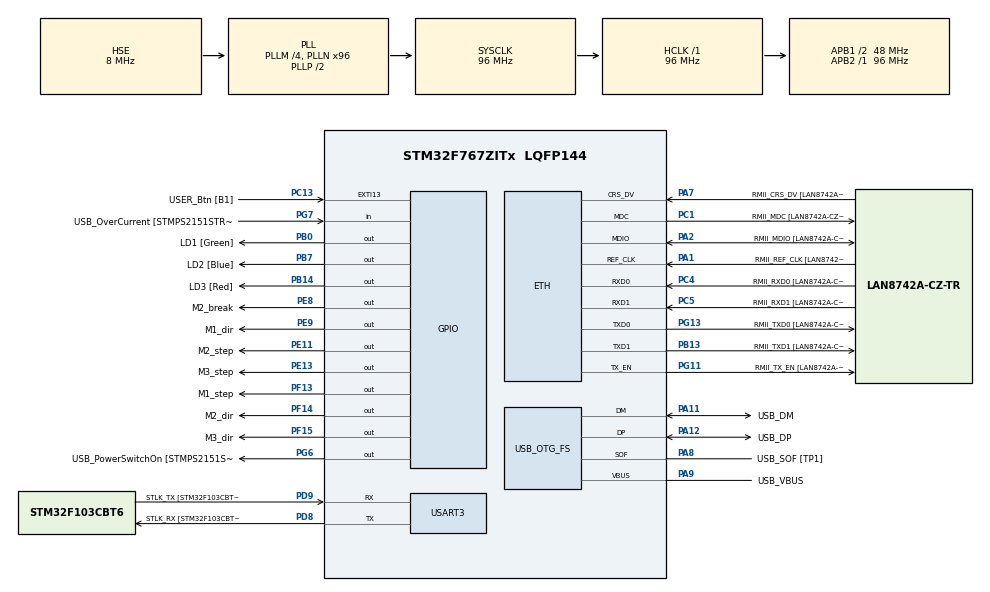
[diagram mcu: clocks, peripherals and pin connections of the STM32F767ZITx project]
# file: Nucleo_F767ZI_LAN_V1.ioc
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CORTEX_M7.default_mode_Activation=1
ETH.MediaInterface=HAL_ETH_RMII_MODE
ETH.PHY_Name=LAN8742A_PHY_ADDRESS
ETH.PHY_Value=0
ETH.PhyAddress=0
LWIP.BSP.number=1
LWIP.IP_ADDRESS=192.168.010.002
LWIP.LWIP_DHCP=0
LWIP.NETMASK_ADDRESS=255.255.255.000
LWIP.Version=v2.1.2_Cube
LWIP0.BSP.STBoard=false
LWIP0.BSP.api=BSP_COMPONENT_DRIVER
LWIP0.BSP.component=LAN8742
LWIP0.BSP.instance=LAN8742
LWIP0.BSP.name=Driver_PHY
LWIP0.BSP.semaphore=S_LAN8742
LWIP0.BSP.solution=LAN8742
Mcu.Family=STM32F7
Mcu.Name=STM32F767ZITx
Mcu.Package=LQFP144
NVIC.PriorityGroup=NVIC_PRIORITYGROUP_4
PA1.GPIO_Label=RMII_REF_CLK [LAN8742A-CZ-TR_REFCLK0]
PA1.Mode=RMII
PA1.Signal=ETH_REF_CLK
PA10.GPIO_Label=USB_ID
PA10.Signal=USB_OTG_FS_ID
PA11.GPIO_Label=USB_DM
PA11.Mode=Device_Only
PA11.Signal=USB_OTG_FS_DM
PA12.GPIO_Label=USB_DP
PA12.Mode=Device_Only
PA12.Signal=USB_OTG_FS_DP
PA13.GPIO_Label=TMS
PA13.Mode=Serial_Wire
PA13.Signal=SYS_JTMS-SWDIO
PA14.GPIO_Label=TCK
PA14.Mode=Serial_Wire
PA14.Signal=SYS_JTCK-SWCLK
PA2.GPIO_Label=RMII_MDIO [LAN8742A-CZ-TR_MDIO]
PA2.Mode=RMII
PA2.Signal=ETH_MDIO
PA7.GPIO_Label=RMII_CRS_DV [LAN8742A-CZ-TR_CRS_DV]
PA7.Mode=RMII
PA7.Signal=ETH_CRS_DV
PA8.GPIO_Label=USB_SOF [TP1]
PA8.Mode=Activate_SOF_FS
PA8.Signal=USB_OTG_FS_SOF
PA9.GPIO_Label=USB_VBUS
PA9.Mode=Activate_VBUS
PA9.Signal=USB_OTG_FS_VBUS
PB0.GPIO_Label=LD1 [Green]
PB0.Signal=GPIO_Output
PB13.GPIO_Label=RMII_TXD1 [LAN8742A-CZ-TR_TXD1]
PB13.Mode=RMII
PB13.Signal=ETH_TXD1
PB14.GPIO_Label=LD3 [Red]
PB14.Signal=GPIO_Output
PB3.GPIO_Label=SWO
PB3.Signal=SYS_JTDO-SWO
PB7.GPIO_Label=LD2 [Blue]
PB7.Signal=GPIO_Output
PC1.GPIO_Label=RMII_MDC [LAN8742A-CZ-TR_MDC]
PC1.Mode=RMII
PC1.Signal=ETH_MDC
PC13.GPIO_Label=USER_Btn [B1]
PC13.Signal=GPXTI13
PC14/OSC32_IN.Mode=LSE-External-Oscillator
PC14/OSC32_IN.Signal=RCC_OSC32_IN
PC15/OSC32_OUT.Mode=LSE-External-Oscillator
PC15/OSC32_OUT.Signal=RCC_OSC32_OUT
PC4.GPIO_Label=RMII_RXD0 [LAN8742A-CZ-TR_RXD0]
PC4.Mode=RMII
PC4.Signal=ETH_RXD0
PC5.GPIO_Label=RMII_RXD1 [LAN8742A-CZ-TR_RXD1]
PC5.Mode=RMII
PC5.Signal=ETH_RXD1
PD8.GPIO_Label=STLK_RX [STM32F103CBT6_PA3]
PD8.Mode=Asynchronous
PD8.Signal=USART3_TX
PD9.GPIO_Label=STLK_TX [STM32F103CBT6_PA2]
PD9.Mode=Asynchronous
PD9.Signal=USART3_RX
PE11.GPIO_Label=M2_step
PE11.Signal=GPIO_Output
PE13.GPIO_Label=M3_step
PE13.Signal=GPIO_Output
PE8.GPIO_Label=M2_break
PE8.Signal=GPIO_Output
PE9.GPIO_Label=M1_dir
PE9.Signal=GPIO_Output
PF13.GPIO_Label=M1_step
PF13.Signal=GPIO_Output
PF14.GPIO_Label=M2_dir
PF14.Signal=GPIO_Output
PF15.GPIO_Label=M3_dir
PF15.Signal=GPIO_Output
PG11.GPIO_Label=RMII_TX_EN [LAN8742A-CZ-TR_TXEN]
PG11.Mode=RMII
PG11.Signal=ETH_TX_EN
PG13.GPIO_Label=RMII_TXD0 [LAN8742A-CZ-TR_TXD0]
PG13.Mode=RMII
PG13.Signal=ETH_TXD0
PG6.GPIO_Label=USB_PowerSwitchOn [STMPS2151STR_EN]
PG6.Signal=GPIO_Output
PG7.GPIO_Label=USB_OverCurrent [STMPS2151STR_FAULT]
PG7.Signal=GPIO_Input
PH0/OSC_IN.GPIO_Label=MCO [STM32F103CBT6_PA8]
PH0/OSC_IN.Mode=HSE-External-Clock-Source
PH0/OSC_IN.Signal=RCC_OSC_IN
PH1/OSC_OUT.Mode=HSE-External-Clock-Source
PH1/OSC_OUT.Signal=RCC_OSC_OUT
ProjectManager.HeapSize=0x200
ProjectManager.StackSize=0x400
ProjectManager.TargetToolchain=STM32CubeIDE
RCC.48MHZClocksFreq_Value=24000000
RCC.AHBFreq_Value=96000000
RCC.APB1CLKDivider=RCC_HCLK_DIV2
RCC.APB1Freq_Value=48000000
RCC.APB1TimFreq_Value=96000000
RCC.APB2Freq_Value=96000000
RCC.APB2TimFreq_Value=96000000
RCC.CortexFreq_Value=96000000
RCC.HCLKFreq_Value=96000000
RCC.HSE_VALUE=8000000
RCC.HSI_VALUE=16000000
RCC.PLLM=4
RCC.PLLMUL=RCC_PLL_MUL9
RCC.PLLN=96
RCC.PLLQ=4
RCC.PRESCALERUSB=RCC_USBCLKSOURCE_PLL_DIV1_5
RCC.SYSCLKFreq_VALUE=96000000
RCC.SYSCLKSource=RCC_SYSCLKSOURCE_PLLCLK
RCC.SYSCLKSourceVirtual=RCC_SYSCLKSOURCE_PLLCLK
RCC.USBFreq_Value=48000000
RCC.VCOOutputFreq_Value=192000000
USART3.VirtualMode-Asynchronous=VM_ASYNC
USB_OTG_FS.VirtualMode=Device_Only
VP_LWIP_VS_Enabled.Mode=Enabled
board=NUCLEO-F767ZI

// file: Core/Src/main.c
/* USER CODE BEGIN Header */
/**
  ******************************************************************************
  * @file           : main.c
  * @brief          : Robot arm UDP motor control
  ******************************************************************************
  */
/* USER CODE END Header */

#include "main.h"
#include "lwip.h"

/* USER CODE BEGIN Includes */
#include "lwip/ip_addr.h"
#include "lwip/pbuf.h"
#include "lwip/udp.h"

#include <stdint.h>
#include <stdio.h>
#include <string.h>
/* USER CODE END Includes */

/* USER CODE BEGIN PD */

#define STEP_TOGGLE_MS       1U
#define DIR_SETTLE_MS        2U
#define COMMAND_TIMEOUT_MS   150U

/* M2 mechanical break requires 100 ms to fully release */
#define BREAK_RELEASE_MS     100U

#define START_M1_POSITION   (-2024L)
#define START_M2_POSITION   (-4669L)

/* USER CODE END PD */

UART_HandleTypeDef huart3;
PCD_HandleTypeDef hpcd_USB_OTG_FS;

/* USER CODE BEGIN PV */

static struct udp_pcb *udp_pcb_global;

/* Manual mode owns M2 break until explicitly disabled. */
static uint8_t manual_mode_active = 0U;
static uint8_t zero_reference_set = 0U;

/* ============================================================= */
/* MOTOR 1                                                       */
/* ============================================================= */

static uint8_t m1_running = 0U;
static uint32_t m1_last_command_time = 0U;
static uint32_t m1_last_step_time = 0U;

static GPIO_PinState m1_direction = GPIO_PIN_RESET;

static uint32_t m1_dir_change_time = 0U;
static uint8_t m1_waiting_for_dir = 0U;
static uint8_t m1_step_state = 0U;

static int32_t m1_position = 0;

/* ============================================================= */
/* MOTOR 2                                                       */
/* ============================================================= */

static uint8_t m2_running = 0U;
static uint32_t m2_last_command_time = 0U;
static uint32_t m2_last_step_time = 0U;

static GPIO_PinState m2_direction = GPIO_PIN_RESET;

static uint32_t m2_dir_change_time = 0U;
static uint8_t m2_waiting_for_dir = 0U;
static uint8_t m2_step_state = 0U;

static int32_t m2_position = 0;

/* ============================================================= */
/* AUTOMATIC COORDINATED MOVE                                    */
/* ============================================================= */

static uint8_t auto_move_active = 0U;
static uint8_t auto_move_waiting_for_dir = 0U;
static uint8_t auto_move_step_high = 0U;

static uint32_t auto_move_dir_time = 0U;
static uint32_t auto_move_last_step_time = 0U;

static uint32_t auto_m1_steps = 0U;
static uint32_t auto_m2_steps = 0U;

static GPIO_PinState auto_m1_direction = GPIO_PIN_RESET;
static GPIO_PinState auto_m2_direction = GPIO_PIN_RESET;

static uint32_t auto_total_slots = 0U;
static uint32_t auto_slot = 0U;

static uint32_t auto_m1_accumulator = 0U;
static uint32_t auto_m2_accumulator = 0U;

static ip_addr_t auto_reply_addr;
static u16_t auto_reply_port = 0U;
static uint8_t auto_reply_valid = 0U;

/* USER CODE END PV */

void SystemClock_Config(void);
static void MPU_Config(void);
static void MX_GPIO_Init(void);
static void MX_USART3_UART_Init(void);
static void MX_USB_OTG_FS_PCD_Init(void);

/* USER CODE BEGIN PFP */

static void UDP_Init(void);

static void UDP_ReceiveCallback(
    void *arg,
    struct udp_pcb *pcb,
    struct pbuf *p,
    const ip_addr_t *addr,
    u16_t port
);

static void UDP_SendReply(
    const char *message,
    const ip_addr_t *addr,
    u16_t port
);

static void UDP_SendPosition(
    const ip_addr_t *addr,
    u16_t port
);

static void M1_Start(GPIO_PinState direction);
static void M1_Stop(void);
static void M1_Process(void);

static void M2_Start(GPIO_PinState direction);
static void M2_Stop(void);
static void M2_Process(void);

static void Stop_All_Motors(void);

static void Reset_Position(void);

static void M2_BreakRelease(void);
static void M2_BreakEngage(void);

static void Auto_MoveStart(
    int32_t target_m1,
    int32_t target_m2,
    const ip_addr_t *addr,
    u16_t port
);

static void Auto_MoveProcess(void);
static void Auto_MoveStop(void);

static uint32_t Abs_Difference(
    int32_t target,
    int32_t current
);

/* USER CODE END PFP */

/* USER CODE BEGIN 0 */

/* ============================================================= */
/* MOTOR 2 BREAK                                                 */
/* ============================================================= */

static void M2_BreakRelease(void)
{
    HAL_GPIO_WritePin(
        M2_break_GPIO_Port,
        M2_break_Pin,
        GPIO_PIN_SET
    );
}

static void M2_BreakEngage(void)
{
    HAL_GPIO_WritePin(
        M2_break_GPIO_Port,
        M2_break_Pin,
        GPIO_PIN_RESET
    );
}

/* ============================================================= */
/* UDP INITIALIZATION                                            */
/* ============================================================= */

static void UDP_Init(void)
{
    udp_pcb_global = udp_new();

    if (udp_pcb_global == NULL)
    {
        return;
    }

    if (
        udp_bind(
            udp_pcb_global,
            IP_ADDR_ANY,
            5001
        ) != ERR_OK
    )
    {
        udp_remove(udp_pcb_global);

        udp_pcb_global = NULL;

        return;
    }

    udp_recv(
        udp_pcb_global,
        UDP_ReceiveCallback,
        NULL
    );
}

/* ============================================================= */
/* UDP REPLY                                                     */
/* ============================================================= */

static void UDP_SendReply(
    const char *message,
    const ip_addr_t *addr,
    u16_t port
)
{
    struct pbuf *p;
    size_t length;

    if (udp_pcb_global == NULL)
    {
        return;
    }

    if (message == NULL)
    {
        return;
    }

    length = strlen(message);

    p = pbuf_alloc(
        PBUF_TRANSPORT,
        length,
        PBUF_RAM
    );

    if (p == NULL)
    {
        return;
    }

    memcpy(
        p->payload,
        message,
        length
    );

    udp_sendto(
        udp_pcb_global,
        p,
        addr,
        port
    );

    pbuf_free(p);
}

/* ============================================================= */
/* SEND POSITION                                                 */
/* ============================================================= */

static void UDP_SendPosition(
    const ip_addr_t *addr,
    u16_t port
)
{
    char message[100];

    snprintf(
        message,
        sizeof(message),
        "POS,%ld,%ld",
        (long)m1_position,
        (long)m2_position
    );

    UDP_SendReply(
        message,
        addr,
        port
    );
}

/* ============================================================= */
/* RESET POSITION                                                */
/* ============================================================= */

static void Reset_Position(void)
{
    m1_position = 0;
    m2_position = 0;
}

/* ============================================================= */
/* ABSOLUTE DIFFERENCE                                           */
/* ============================================================= */

static uint32_t Abs_Difference(
    int32_t target,
    int32_t current
)
{
    int64_t difference;

    difference =
        (int64_t)target -
        (int64_t)current;

    if (difference < 0)
    {
        difference = -difference;
    }

    return (uint32_t)difference;
}

/* ============================================================= */
/* MOTOR 1 STOP                                                  */
/* ============================================================= */

static void M1_Stop(void)
{
    m1_running = 0U;
    m1_waiting_for_dir = 0U;
    m1_step_state = 0U;

    HAL_GPIO_WritePin(
        M1_step_GPIO_Port,
        M1_step_Pin,
        GPIO_PIN_RESET
    );
}

/* ============================================================= */
/* MOTOR 2 STOP                                                  */
/* ============================================================= */

static void M2_Stop(void)
{
    m2_running = 0U;
    m2_waiting_for_dir = 0U;
    m2_step_state = 0U;

    HAL_GPIO_WritePin(
        M2_step_GPIO_Port,
        M2_step_Pin,
        GPIO_PIN_RESET
    );
}

/* ============================================================= */
/* STOP ALL MANUAL MOTORS                                        */
/* ============================================================= */

static void Stop_All_Motors(void)
{
    M1_Stop();
    M2_Stop();
}

/* ============================================================= */
/* MOTOR 1 START                                                 */
/* ============================================================= */

static void M1_Start(
    GPIO_PinState direction
)
{
    uint32_t now;

    if (auto_move_active != 0U)
    {
        Auto_MoveStop();
    }

    now = HAL_GetTick();

    if (
        (m1_running == 0U) ||
        (m1_direction != direction)
    )
    {
        HAL_GPIO_WritePin(
            M1_step_GPIO_Port,
            M1_step_Pin,
            GPIO_PIN_RESET
        );

        m1_step_state = 0U;

        HAL_GPIO_WritePin(
            M1_dir_GPIO_Port,
            M1_dir_Pin,
            direction
        );

        m1_direction = direction;
        m1_dir_change_time = now;
        m1_last_step_time = now;
        m1_waiting_for_dir = 1U;
    }

    m1_last_command_time = now;
    m1_running = 1U;
}

/* ============================================================= */
/* MOTOR 1 PROCESS                                               */
/* ============================================================= */

static void M1_Process(void)
{
    uint32_t now;

    if (m1_running == 0U)
    {
        return;
    }

    now = HAL_GetTick();

    if (
        (now - m1_last_command_time) >=
        COMMAND_TIMEOUT_MS
    )
    {
        M1_Stop();
        return;
    }

    if (m1_waiting_for_dir != 0U)
    {
        if (
            (now - m1_dir_change_time) <
            DIR_SETTLE_MS
        )
        {
            return;
        }

        m1_waiting_for_dir = 0U;
        m1_last_step_time = now;

        return;
    }

    if (
        (now - m1_last_step_time) >=
        STEP_TOGGLE_MS
    )
    {
        m1_last_step_time = now;

        if (m1_step_state == 0U)
        {
            HAL_GPIO_WritePin(
                M1_step_GPIO_Port,
                M1_step_Pin,
                GPIO_PIN_SET
            );

            m1_step_state = 1U;

            if (m1_direction == GPIO_PIN_SET)
            {
                m1_position++;
            }
            else
            {
                m1_position--;
            }
        }
        else
        {
            HAL_GPIO_WritePin(
                M1_step_GPIO_Port,
                M1_step_Pin,
                GPIO_PIN_RESET
            );

            m1_step_state = 0U;
        }
    }
}

/* ============================================================= */
/* MOTOR 2 START                                                 */
/* ============================================================= */

static void M2_Start(
    GPIO_PinState direction
)
{
    uint32_t now;

    if (auto_move_active != 0U)
    {
        Auto_MoveStop();
    }

    now = HAL_GetTick();

    if (
        (m2_running == 0U) ||
        (m2_direction != direction)
    )
    {
        HAL_GPIO_WritePin(
            M2_step_GPIO_Port,
            M2_step_Pin,
            GPIO_PIN_RESET
        );

        m2_step_state = 0U;

        HAL_GPIO_WritePin(
            M2_dir_GPIO_Port,
            M2_dir_Pin,
            direction
        );

        m2_direction = direction;
        m2_dir_change_time = now;
        m2_last_step_time = now;
        m2_waiting_for_dir = 1U;
    }

    m2_last_command_time = now;
    m2_running = 1U;
}

/* ============================================================= */
/* MOTOR 2 PROCESS                                               */
/* ============================================================= */

static void M2_Process(void)
{
    uint32_t now;

    if (m2_running == 0U)
    {
        return;
    }

    now = HAL_GetTick();

    if (
        (now - m2_last_command_time) >=
        COMMAND_TIMEOUT_MS
    )
    {
        M2_Stop();
        return;
    }

    if (m2_waiting_for_dir != 0U)
    {
        if (
            (now - m2_dir_change_time) <
            DIR_SETTLE_MS
        )
        {
            return;
        }

        m2_waiting_for_dir = 0U;
        m2_last_step_time = now;

        return;
    }

    if (
        (now - m2_last_step_time) >=
        STEP_TOGGLE_MS
    )
    {
        m2_last_step_time = now;

        if (m2_step_state == 0U)
        {
            HAL_GPIO_WritePin(
                M2_step_GPIO_Port,
                M2_step_Pin,
                GPIO_PIN_SET
            );

            m2_step_state = 1U;

            if (m2_direction == GPIO_PIN_SET)
            {
                m2_position++;
            }
            else
            {
                m2_position--;
            }
        }
        else
        {
            HAL_GPIO_WritePin(
                M2_step_GPIO_Port,
                M2_step_Pin,
                GPIO_PIN_RESET
            );

            m2_step_state = 0U;
        }
    }
}

/* ============================================================= */
/* AUTOMATIC MOVE STOP                                           */
/* ============================================================= */

static void Auto_MoveStop(void)
{
    auto_move_active = 0U;
    auto_move_waiting_for_dir = 0U;
    auto_move_step_high = 0U;
    auto_reply_valid = 0U;

    HAL_GPIO_WritePin(
        M1_step_GPIO_Port,
        M1_step_Pin,
        GPIO_PIN_RESET
    );

    HAL_GPIO_WritePin(
        M2_step_GPIO_Port,
        M2_step_Pin,
        GPIO_PIN_RESET
    );

    m1_step_state = 0U;
    m2_step_state = 0U;
}

/* ============================================================= */
/* START AUTOMATIC MOVE                                          */
/* ============================================================= */

static void Auto_MoveStart(
    int32_t target_m1,
    int32_t target_m2,
    const ip_addr_t *addr,
    u16_t port
)
{
    uint32_t now;

    Stop_All_Motors();
    Auto_MoveStop();

    /*
     * Calculate movement from CURRENT position
     * to the requested target position.
     */

    auto_m1_steps =
        Abs_Difference(
            target_m1,
            m1_position
        );

    auto_m2_steps =
        Abs_Difference(
            target_m2,
            m2_position
        );

    if (target_m1 >= m1_position)
    {
        auto_m1_direction = GPIO_PIN_SET;
    }
    else
    {
        auto_m1_direction = GPIO_PIN_RESET;
    }

    if (target_m2 >= m2_position)
    {
        auto_m2_direction = GPIO_PIN_SET;
    }
    else
    {
        auto_m2_direction = GPIO_PIN_RESET;
    }

    auto_total_slots = auto_m1_steps;

    if (auto_m2_steps > auto_total_slots)
    {
        auto_total_slots = auto_m2_steps;
    }

    /*
     * Robot is already at the requested position.
     */

    if (auto_total_slots == 0U)
    {
        if (!manual_mode_active) M2_BreakEngage();

        UDP_SendReply(
            "MOVE_DONE",
            addr,
            port
        );

        UDP_SendPosition(
            addr,
            port
        );

        return;
    }

    /*
     * Release M2 mechanical break FIRST.
     */

    if (!manual_mode_active) M2_BreakRelease();

    /*
     * IMPORTANT:
     *
     * Give the mechanical break 100 ms to fully disengage
     * before ANY STEP pulse is generated.
     */

    if (!manual_mode_active) HAL_Delay(BREAK_RELEASE_MS);

    /*
     * Set all directions after the break has released.
     */

    HAL_GPIO_WritePin(
        M1_dir_GPIO_Port,
        M1_dir_Pin,
        auto_m1_direction
    );

    HAL_GPIO_WritePin(
        M2_dir_GPIO_Port,
        M2_dir_Pin,
        auto_m2_direction
    );

    m1_direction = auto_m1_direction;
    m2_direction = auto_m2_direction;

    /*
     * Ensure all STEP outputs are LOW.
     */

    HAL_GPIO_WritePin(
        M1_step_GPIO_Port,
        M1_step_Pin,
        GPIO_PIN_RESET
    );

    HAL_GPIO_WritePin(
        M2_step_GPIO_Port,
        M2_step_Pin,
        GPIO_PIN_RESET
    );

    /*
     * Initialize DDA accumulators.
     */

    auto_m1_accumulator =
        auto_total_slots / 2U;

    auto_m2_accumulator =
        auto_total_slots / 2U;

    auto_slot = 0U;
    auto_move_step_high = 0U;

    now = HAL_GetTick();

    auto_move_dir_time = now;
    auto_move_last_step_time = now;

    auto_move_waiting_for_dir = 1U;

    ip_addr_copy(
        auto_reply_addr,
        *addr
    );

    auto_reply_port = port;
    auto_reply_valid = 1U;

    auto_move_active = 1U;
}

/* ============================================================= */
/* PROCESS AUTOMATIC MOVE                                        */
/* ============================================================= */

static void Auto_MoveProcess(void)
{
    uint32_t now;

    uint8_t m1_pulse;
    uint8_t m2_pulse;

    if (auto_move_active == 0U)
    {
        return;
    }

    now = HAL_GetTick();

    /*
     * Wait for DIR signals to settle.
     */

    if (auto_move_waiting_for_dir != 0U)
    {
        if (
            (now - auto_move_dir_time) <
            DIR_SETTLE_MS
        )
        {
            return;
        }

        auto_move_waiting_for_dir = 0U;
        auto_move_last_step_time = now;

        return;
    }

    if (
        (now - auto_move_last_step_time) <
        STEP_TOGGLE_MS
    )
    {
        return;
    }

    auto_move_last_step_time = now;

    /*
     * LOW -> HIGH phase.
     */

    if (auto_move_step_high == 0U)
    {
        m1_pulse = 0U;
        m2_pulse = 0U;

        auto_m1_accumulator +=
            auto_m1_steps;

        if (
            auto_m1_accumulator >=
            auto_total_slots
        )
        {
            auto_m1_accumulator -=
                auto_total_slots;

            m1_pulse = 1U;
        }

        auto_m2_accumulator +=
            auto_m2_steps;

        if (
            auto_m2_accumulator >=
            auto_total_slots
        )
        {
            auto_m2_accumulator -=
                auto_total_slots;

            m2_pulse = 1U;
        }

        /*
         * Generate rising STEP edges.
         * Position is updated only on rising edges.
         */

        if (m1_pulse != 0U)
        {
            HAL_GPIO_WritePin(
                M1_step_GPIO_Port,
                M1_step_Pin,
                GPIO_PIN_SET
            );

            if (
                auto_m1_direction ==
                GPIO_PIN_SET
            )
            {
                m1_position++;
            }
            else
            {
                m1_position--;
            }
        }

        if (m2_pulse != 0U)
        {
            HAL_GPIO_WritePin(
                M2_step_GPIO_Port,
                M2_step_Pin,
                GPIO_PIN_SET
            );

            if (
                auto_m2_direction ==
                GPIO_PIN_SET
            )
            {
                m2_position++;
            }
            else
            {
                m2_position--;
            }
        }

        auto_slot++;

        auto_move_step_high = 1U;
    }

    /*
     * HIGH -> LOW phase.
     */

    else
    {
        HAL_GPIO_WritePin(
            M1_step_GPIO_Port,
            M1_step_Pin,
            GPIO_PIN_RESET
        );

        HAL_GPIO_WritePin(
            M2_step_GPIO_Port,
            M2_step_Pin,
            GPIO_PIN_RESET
        );

        auto_move_step_high = 0U;

        /*
         * Automatic movement finished.
         */

        if (auto_slot >= auto_total_slots)
        {
            auto_move_active = 0U;

            /*
             * M2 is no longer moving.
             * Engage the mechanical break.
             */

            if (!manual_mode_active) M2_BreakEngage();

            if (auto_reply_valid != 0U)
            {
                UDP_SendReply(
                    "MOVE_DONE",
                    &auto_reply_addr,
                    auto_reply_port
                );

                UDP_SendPosition(
                    &auto_reply_addr,
                    auto_reply_port
                );
            }

            auto_reply_valid = 0U;
        }
    }
}

/* ============================================================= */
/* UDP RECEIVE                                                   */
/* ============================================================= */

static void UDP_ReceiveCallback(
    void *arg,
    struct udp_pcb *pcb,
    struct pbuf *p,
    const ip_addr_t *addr,
    u16_t port
)
{
    char command[64];

    uint16_t copy_length;

    if (p == NULL)
    {
        return;
    }

    copy_length = p->tot_len;

    if (copy_length >= sizeof(command))
    {
        copy_length =
            sizeof(command) - 1U;
    }

    pbuf_copy_partial(
        p,
        command,
        copy_length,
        0
    );

    command[copy_length] = '\0';

    /* --------------------------------------------------------- */
    /* CONNECT                                                   */
    /* --------------------------------------------------------- */

    if (
        strcmp(
            command,
            "CONNECT"
        ) == 0
    )
    {
        UDP_SendReply(
            "CONNECT_OK",
            addr,
            port
        );
    }

    /* --------------------------------------------------------- */
    /* MANUAL MODE ON                                            */
    /* --------------------------------------------------------- */

    else if (
        strcmp(
            command,
            "MANUAL_MODE_ON"
        ) == 0
    )
    {
        Auto_MoveStop();

        Stop_All_Motors();

        /*
         * Release M2 break.
         */

        manual_mode_active = 1U;
        M2_BreakRelease();

        /*
         * Wait until the mechanical break has
         * fully disengaged.
         */

        HAL_Delay(
            BREAK_RELEASE_MS
        );

        UDP_SendReply(
            "MANUAL_MODE_ON",
            addr,
            port
        );
    }

    /* --------------------------------------------------------- */
    /* MANUAL MODE OFF                                           */
    /* --------------------------------------------------------- */

    else if (
        strcmp(
            command,
            "MANUAL_MODE_OFF"
        ) == 0
    )
    {
        Auto_MoveStop();

        Stop_All_Motors();

        manual_mode_active = 0U;
        M2_BreakEngage();

        UDP_SendReply(
            "MANUAL_MODE_OFF",
            addr,
            port
        );
    }

    /* --------------------------------------------------------- */
    /* MOTOR 1 LEFT                                              */
    /* --------------------------------------------------------- */

    else if (
        strcmp(
            command,
            "M1_LEFT"
        ) == 0
    )
    {
        Auto_MoveStop();

        M2_Stop();

        M1_Start(
            GPIO_PIN_RESET
        );

        UDP_SendReply(
            "M1_LEFT",
            addr,
            port
        );
    }

    /* --------------------------------------------------------- */
    /* MOTOR 1 RIGHT                                             */
    /* --------------------------------------------------------- */

    else if (
        strcmp(
            command,
            "M1_RIGHT"
        ) == 0
    )
    {
        Auto_MoveStop();

        M2_Stop();

        M1_Start(
            GPIO_PIN_SET
        );

        UDP_SendReply(
            "M1_RIGHT",
            addr,
            port
        );
    }

    /* --------------------------------------------------------- */
    /* MOTOR 2 UP                                                */
    /* --------------------------------------------------------- */

    else if (
        strcmp(
            command,
            "M2_UP"
        ) == 0
    )
    {
        Auto_MoveStop();

        M1_Stop();

        M2_Start(
            GPIO_PIN_SET
        );

        UDP_SendReply(
            "M2_UP",
            addr,
            port
        );
    }

    /* --------------------------------------------------------- */
    /* MOTOR 2 DOWN                                              */
    /* --------------------------------------------------------- */

    else if (
        strcmp(
            command,
            "M2_DOWN"
        ) == 0
    )
    {
        Auto_MoveStop();

        M1_Stop();

        M2_Start(
            GPIO_PIN_RESET
        );

        UDP_SendReply(
            "M2_DOWN",
            addr,
            port
        );
    }

    /* --------------------------------------------------------- */
    /* GO TO START                                               */
    /* --------------------------------------------------------- */

    else if (
        strcmp(
            command,
            "GO_TO_START"
        ) == 0
    )
    {
        /*
         * Auto_MoveStart:
         *
         * 1. Calculates current -> START
         * 2. Releases M2 break
         * 3. Waits 100 ms
         * 4. Sets directions
         * 5. Starts coordinated movement
         */

        if (zero_reference_set == 0U)
        {
            UDP_SendReply("ZERO_REQUIRED", addr, port);
        }
        else
        {
        Auto_MoveStart(
            START_M1_POSITION,
            START_M2_POSITION,
            addr,
            port
        );

        if (auto_move_active != 0U)
        {
            UDP_SendReply(
                "MOVE_STARTED",
                addr,
                port
            );
        }
        }
    }

    /* --------------------------------------------------------- */
    /* STOP                                                      */
    /* --------------------------------------------------------- */

    else if (
        strcmp(
            command,
            "STOP"
        ) == 0
    )
    {
        Auto_MoveStop();
        Stop_All_Motors();

        /* Keep break released during Manual Mode. */
        if (!manual_mode_active) M2_BreakEngage();

        UDP_SendReply(
            "STOP",
            addr,
            port
        );
    }

    /* --------------------------------------------------------- */
    /* ZERO SET                                                  */
    /* --------------------------------------------------------- */

    else if (
        strcmp(
            command,
            "ZERO_SET"
        ) == 0
    )
    {
        Auto_MoveStop();

        Stop_All_Motors();

        Reset_Position();
        zero_reference_set = 1U;

        UDP_SendReply(
            "ZERO_SET",
            addr,
            port
        );
    }

    /* --------------------------------------------------------- */
    /* GET POSITION                                              */
    /* --------------------------------------------------------- */

    else if (
        strcmp(
            command,
            "GET_POS"
        ) == 0
    )
    {
        UDP_SendPosition(
            addr,
            port
        );
    }

    /* --------------------------------------------------------- */
    /* UNKNOWN                                                   */
    /* --------------------------------------------------------- */

    else
    {
        UDP_SendReply(
            "UNKNOWN_COMMAND",
            addr,
            port
        );
    }

    pbuf_free(p);
}

/* USER CODE END 0 */

int main(void)
{
    MPU_Config();

    HAL_Init();

    SystemClock_Config();

    MX_GPIO_Init();

    MX_USART3_UART_Init();

    MX_USB_OTG_FS_PCD_Init();

    MX_LWIP_Init();

    /* USER CODE BEGIN 2 */

    Stop_All_Motors();

    Auto_MoveStop();
    manual_mode_active = 0U;

    Reset_Position();

    M2_BreakEngage();

    UDP_Init();

    /* USER CODE END 2 */

    while (1)
    {
        MX_LWIP_Process();

        M1_Process();

        M2_Process();

        Auto_MoveProcess();
    }
}

void SystemClock_Config(void)
{
    RCC_OscInitTypeDef RCC_OscInitStruct = {0};

    RCC_ClkInitTypeDef RCC_ClkInitStruct = {0};

    __HAL_RCC_PWR_CLK_ENABLE();

    __HAL_PWR_VOLTAGESCALING_CONFIG(
        PWR_REGULATOR_VOLTAGE_SCALE1
    );

    RCC_OscInitStruct.OscillatorType =
        RCC_OSCILLATORTYPE_HSE;

    RCC_OscInitStruct.HSEState =
        RCC_HSE_BYPASS;

    RCC_OscInitStruct.PLL.PLLState =
        RCC_PLL_ON;

    RCC_OscInitStruct.PLL.PLLSource =
        RCC_PLLSOURCE_HSE;

    RCC_OscInitStruct.PLL.PLLM = 4;

    RCC_OscInitStruct.PLL.PLLN = 96;

    RCC_OscInitStruct.PLL.PLLP =
        RCC_PLLP_DIV2;

    RCC_OscInitStruct.PLL.PLLQ = 4;

    if (
        HAL_RCC_OscConfig(
            &RCC_OscInitStruct
        ) != HAL_OK
    )
    {
        Error_Handler();
    }

    if (
        HAL_PWREx_EnableOverDrive()
        != HAL_OK
    )
    {
        Error_Handler();
    }

    RCC_ClkInitStruct.ClockType =
        RCC_CLOCKTYPE_HCLK |
        RCC_CLOCKTYPE_SYSCLK |
        RCC_CLOCKTYPE_PCLK1 |
        RCC_CLOCKTYPE_PCLK2;

    RCC_ClkInitStruct.SYSCLKSource =
        RCC_SYSCLKSOURCE_PLLCLK;

    RCC_ClkInitStruct.AHBCLKDivider =
        RCC_SYSCLK_DIV1;

    RCC_ClkInitStruct.APB1CLKDivider =
        RCC_HCLK_DIV2;

    RCC_ClkInitStruct.APB2CLKDivider =
        RCC_HCLK_DIV1;

    if (
        HAL_RCC_ClockConfig(
            &RCC_ClkInitStruct,
            FLASH_LATENCY_3
        ) != HAL_OK
    )
    {
        Error_Handler();
    }
}

static void MX_USART3_UART_Init(void)
{
    huart3.Instance = USART3;

    huart3.Init.BaudRate = 115200;

    huart3.Init.WordLength =
        UART_WORDLENGTH_8B;

    huart3.Init.StopBits =
        UART_STOPBITS_1;

    huart3.Init.Parity =
        UART_PARITY_NONE;

    huart3.Init.Mode =
        UART_MODE_TX_RX;

    huart3.Init.HwFlowCtl =
        UART_HWCONTROL_NONE;

    huart3.Init.OverSampling =
        UART_OVERSAMPLING_16;

    huart3.Init.OneBitSampling =
        UART_ONE_BIT_SAMPLE_DISABLE;

    huart3.AdvancedInit.AdvFeatureInit =
        UART_ADVFEATURE_NO_INIT;

    if (
        HAL_UART_Init(
            &huart3
        ) != HAL_OK
    )
    {
        Error_Handler();
    }
}

static void MX_USB_OTG_FS_PCD_Init(void)
{
    hpcd_USB_OTG_FS.Instance =
        USB_OTG_FS;

    hpcd_USB_OTG_FS.Init.dev_endpoints =
        6;

    hpcd_USB_OTG_FS.Init.speed =
        PCD_SPEED_FULL;

    hpcd_USB_OTG_FS.Init.dma_enable =
        DISABLE;

    hpcd_USB_OTG_FS.Init.phy_itface =
        PCD_PHY_EMBEDDED;

    hpcd_USB_OTG_FS.Init.Sof_enable =
        ENABLE;

    hpcd_USB_OTG_FS.Init.low_power_enable =
        DISABLE;

    hpcd_USB_OTG_FS.Init.lpm_enable =
        DISABLE;

    hpcd_USB_OTG_FS.Init.vbus_sensing_enable =
        ENABLE;

    hpcd_USB_OTG_FS.Init.use_dedicated_ep1 =
        DISABLE;

    if (
        HAL_PCD_Init(
            &hpcd_USB_OTG_FS
        ) != HAL_OK
    )
    {
        Error_Handler();
    }
}

static void MX_GPIO_Init(void)
{
    GPIO_InitTypeDef GPIO_InitStruct = {0};

    __HAL_RCC_GPIOC_CLK_ENABLE();

    __HAL_RCC_GPIOF_CLK_ENABLE();

    __HAL_RCC_GPIOA_CLK_ENABLE();

    __HAL_RCC_GPIOB_CLK_ENABLE();

    __HAL_RCC_GPIOE_CLK_ENABLE();

    __HAL_RCC_GPIOD_CLK_ENABLE();

    __HAL_RCC_GPIOG_CLK_ENABLE();

    HAL_GPIO_WritePin(
        GPIOF,
        M1_step_Pin |
        M2_dir_Pin,
        GPIO_PIN_RESET
    );

    HAL_GPIO_WritePin(
        GPIOE,
        M1_dir_Pin |
        M2_break_Pin |
        M2_step_Pin,
        GPIO_PIN_RESET
    );

    GPIO_InitStruct.Pin =
        M1_step_Pin |
        M2_dir_Pin;

    GPIO_InitStruct.Mode =
        GPIO_MODE_OUTPUT_PP;

    GPIO_InitStruct.Pull =
        GPIO_NOPULL;

    GPIO_InitStruct.Speed =
        GPIO_SPEED_FREQ_LOW;

    HAL_GPIO_Init(
        GPIOF,
        &GPIO_InitStruct
    );

    GPIO_InitStruct.Pin =
        M1_dir_Pin |
        M2_break_Pin |
        M2_step_Pin;

    GPIO_InitStruct.Mode =
        GPIO_MODE_OUTPUT_PP;

    GPIO_InitStruct.Pull =
        GPIO_NOPULL;

    GPIO_InitStruct.Speed =
        GPIO_SPEED_FREQ_LOW;

    HAL_GPIO_Init(
        GPIOE,
        &GPIO_InitStruct
    );
}

/* MPU Configuration */

void MPU_Config(void)
{
    MPU_Region_InitTypeDef MPU_InitStruct = {0};

    HAL_MPU_Disable();

    MPU_InitStruct.Enable =
        MPU_REGION_ENABLE;

    MPU_InitStruct.Number =
        MPU_REGION_NUMBER0;

    MPU_InitStruct.BaseAddress =
        0x0;

    MPU_InitStruct.Size =
        MPU_REGION_SIZE_4GB;

    MPU_InitStruct.SubRegionDisable =
        0x87;

    MPU_InitStruct.TypeExtField =
        MPU_TEX_LEVEL0;

    MPU_InitStruct.AccessPermission =
        MPU_REGION_NO_ACCESS;

    MPU_InitStruct.DisableExec =
        MPU_INSTRUCTION_ACCESS_DISABLE;

    MPU_InitStruct.IsShareable =
        MPU_ACCESS_SHAREABLE;

    MPU_InitStruct.IsCacheable =
        MPU_ACCESS_NOT_CACHEABLE;

    MPU_InitStruct.IsBufferable =
        MPU_ACCESS_NOT_BUFFERABLE;

    HAL_MPU_ConfigRegion(
        &MPU_InitStruct
    );

    HAL_MPU_Enable(
        MPU_PRIVILEGED_DEFAULT
    );
}

/**
  * @brief Error handler
  */
void Error_Handler(void)
{
    __disable_irq();

    while (1)
    {
    }
}
